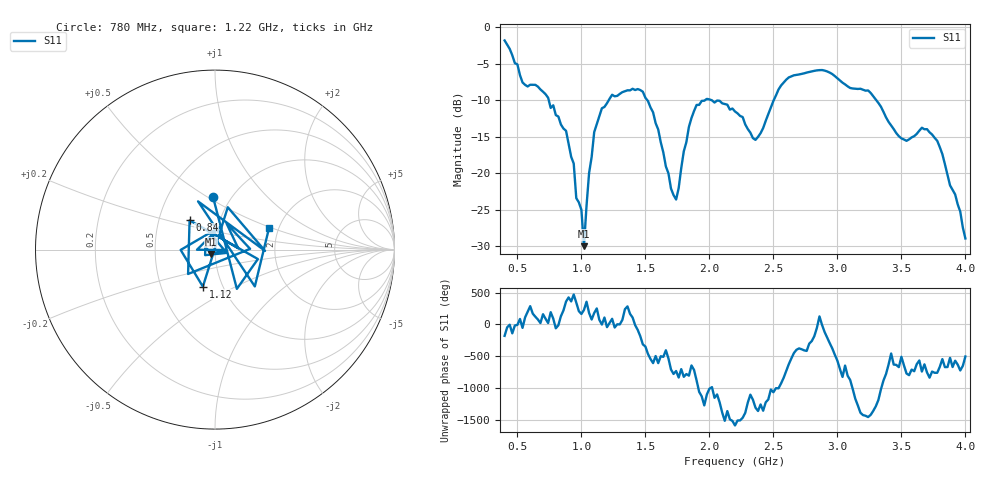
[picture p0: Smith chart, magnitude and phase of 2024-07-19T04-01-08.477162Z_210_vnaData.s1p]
!Created with skrf (http://scikit-rf.org).
# Hz S RI R 50.0
!freq ReS11 ImS11
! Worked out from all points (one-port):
!   181 points, 400 MHz to 4 GHz, reference 50 ohm
!   lowest |S11| = -30.0 dB at 1.02 GHz (marker M1), VSWR 1.07, Z = 47.9 - j2.27 ohm
!   |S11| at or under -10 dB: 745.1 MHz to 1.213 GHz (468 MHz wide, 47.8 % of centre); 2.02 GHz to 2.502 GHz (482.6 MHz wide, 21.3 % of centre); 3.304 GHz to end of sweep (the widest 3 of 4)
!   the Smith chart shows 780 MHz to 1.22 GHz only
!   S11 on the Smith chart (normalised r, x): 780 MHz: 0.83, +0.53; 840 MHz: 0.72, +0.25; 1.12 GHz: 0.81, -0.35; 1.22 GHz: 1.78, +0.48
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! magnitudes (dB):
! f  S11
! 400 MHz  -1.8
! 540 MHz  -7.6
! 780 MHz  -10.7
! 840 MHz  -13.3
! 860 MHz  -13.9
! 940 MHz  -18.7
! 960 MHz  -23.4
! 1 GHz  -25.0
! 1.02 GHz  -30.0
! 1.06 GHz  -20.0
! 1.12 GHz  -13.3
! 1.22 GHz  -9.8
! 1.3 GHz  -9.1
! 1.48 GHz  -8.8
! 1.6 GHz  -14.0
! 1.7 GHz  -22.1
! 1.76 GHz  -22.0
! 1.84 GHz  -13.6
! 1.9 GHz  -10.6
! 2.2 GHz  -11.5
! 2.36 GHz  -15.4
! 2.66 GHz  -6.6
! 3.1 GHz  -8.3
! 3.24 GHz  -8.6
! 3.56 GHz  -15.4
! 3.66 GHz  -13.8
! 3.78 GHz  -15.6
! 4 GHz  -28.9
